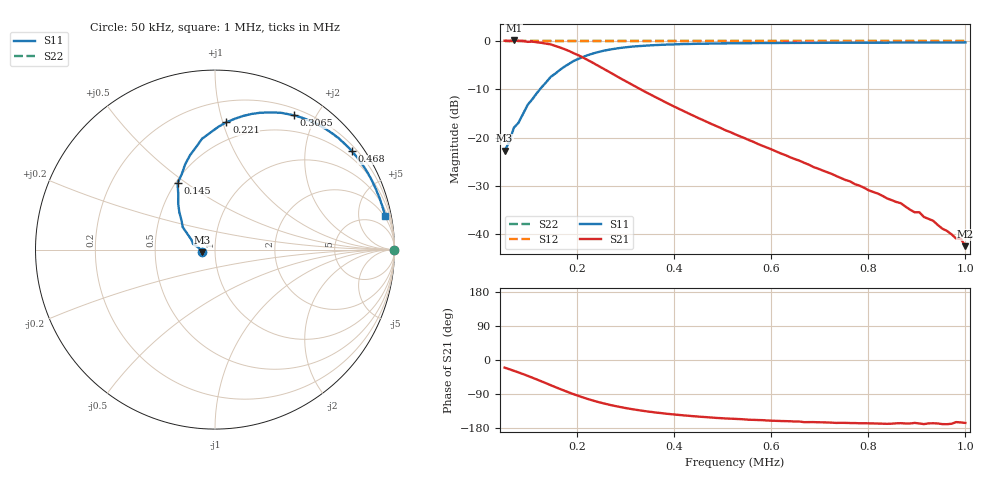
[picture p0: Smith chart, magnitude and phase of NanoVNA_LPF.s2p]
! File created by NanoVNA (https://gen111.taobao.com/)
! Start 50000Hz  Stop 1000000Hz  Points 101
# HZ S MA R 50
! S - Parameter data, F S11 S21 (S12 and S22 are invalid)
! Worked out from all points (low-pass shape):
!   101 points, 50 kHz to 1 MHz, reference 50 ohm
!   highest |S21| = 0.11 dB at 69 kHz (marker M1); lowest = -42.5 dB at 1 MHz (marker M2)
!   |S21| within 3 dB of the highest: start of sweep to 200.7 kHz
!   lowest |S11| = -22.7 dB at 50 kHz (marker M3), VSWR 1.16, Z = 43.3 - j1.4 ohm
!   |S11| at or under -10 dB: start of sweep to 122.9 kHz
!   |S22| runs from 0.0 to 0.0 dB; largest |S21 - S12| = 1.3
!   S11 on the Smith chart (normalised r, x): 50 kHz: 0.87, -0.03; 145 kHz: 0.51, +0.46; 221 kHz: 0.36, +1.03; 306.5 kHz: 0.28, +1.71; 468 kHz: 0.33, +3.07; 1 MHz: 2, +10
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50000  0.0732 -167.3  1.008 -20.1  1 0.0  1 0.0
59500  0.08961 174.2  0.9996 -24.2  1 0.0  1 0.0
69000  0.1264 165.5  1.013 -28.5  1 0.0  1 0.0
78500  0.1421 157.4  1.004 -32.7  1 0.0  1 0.0
97500  0.2184 145.3  0.9802 -41.7  1 0.0  1 0.0
107000  0.2488 138.7  0.9853 -46.6  1 0.0  1 0.0
145000  0.4247 119.4  0.9231 -66.4  1 0.0  1 0.0
173500  0.543 105.0  0.8235 -81.1  1 0.0  1 0.0
211500  0.6835 88.5  0.6744 -98.7  1 0.0  1 0.0
221000  0.7124 84.9  0.6365 -102.7  1 0.0  1 0.0
259000  0.8014 72.0  0.4993 -116.0  1 0.0  1 0.0
306500  0.8679 59.5  0.3672 -128.3  1 0.0  1 0.0
373000  0.9128 47.1  0.2446 -140.1  1 0.0  1 0.0
468000  0.9385 35.7  0.1446 -151.0  1 0.0  1 0.0
525000  0.9474 30.9  0.1082 -155.4  1 0.0  1 0.0
686500  0.9565 21.4  0.04957 -163.8  1 0.0  1 0.0
848000  0.9626 15.4  0.02248 -168.0  1 0.0  1 0.0
905000  0.9639 13.6  0.01686 -167.5  1 0.0  1 0.0
933500  0.965 12.8  0.01374 -167.0  1 0.0  1 0.0
981000  0.9661 11.6  0.008976 -163.9  1 0.0  1 0.0
990500  0.967 11.3  0.008961 -164.8  1 0.0  1 0.0
1000000  0.9675 11.1  0.007499 -166.1  1 0.0  1 0.0
